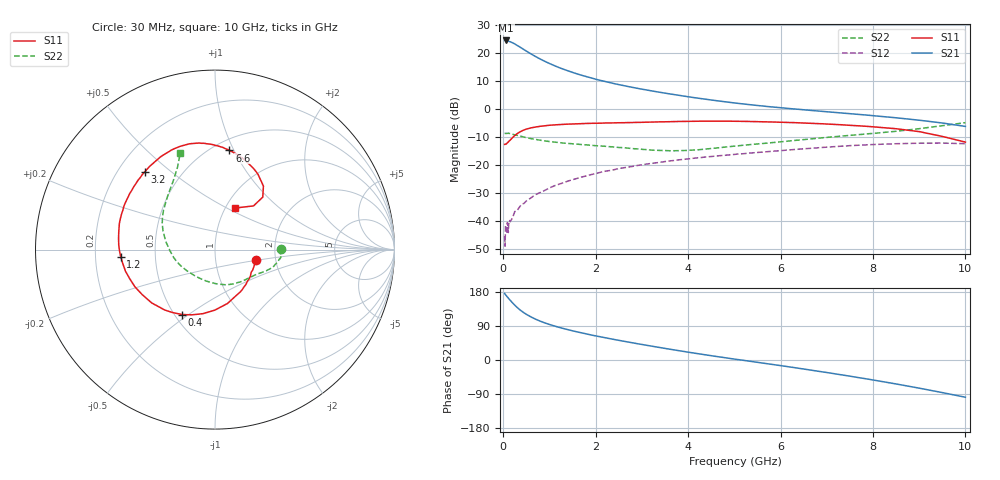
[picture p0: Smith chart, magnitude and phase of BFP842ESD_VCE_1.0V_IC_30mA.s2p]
! Infineon Technologies  Discrete & RF Semiconductors
! BFP842ESD
! VCE =  1.0 V,  IC =  30 mA
! Common Emitter S-Parameters:  May 2012
# GHz  S  MA  R  50
!  f  S11  S21  S12  S22
! GHz  MAG  ANG  MAG  ANG  MAG  ANG  MAG  ANG
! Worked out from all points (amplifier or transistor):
!   99 points, 30 MHz to 10 GHz, reference 50 ohm
!   highest |S21| = 24.4 dB at 60 MHz (marker M1)
!   |S21| within 3 dB of that: start of sweep to 423.6 MHz
!   unconditionally stable (mu >= 1): start of sweep to end of sweep
!   at 350 MHz: K = 1.67, MAG = 23.8 dB, |S12| = -35.0 dB
!   at 3.5 GHz: K = 1.45, MAG = 8.2 dB, |S12| = -18.7 dB
!   at 10 GHz: K = 2.58, MAG = -3.9 dB, |S12| = -12.4 dB
!   S11 on the Smith chart (normalised r, x): 30 MHz: 1.57, -0.19; 400 MHz: 0.55, -0.47; 1.2 GHz: 0.31, -0.04; 3.2 GHz: 0.31, +0.41; 6.6 GHz: 0.60, +0.96; 10 GHz: 1.11, +0.55
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0.03  0.2339 -14.5  16.6 175.6  0.0054 30.9  0.3673 0.3
0.04  0.2344 -19.1  16.55 174.0  0.0036 31.0  0.3679 -1.1
0.05  0.2368 -23.6  16.42 172.3  0.0085 12.7  0.3652 -1.9
0.06  0.239 -28.6  16.62 170.7  0.0071 16.2  0.367 -2.9
0.15  0.2778 -62.3  15.78 157.7  0.0098 63.3  0.3624 -8.4
0.25  0.3371 -90.1  14.43 144.6  0.0149 46.0  0.3464 -13.5
0.35  0.3856 -109.5  12.86 133.6  0.0178 60.5  0.33 -18.0
0.4  0.4056 -116.9  12.1 128.8  0.0202 60.5  0.3241 -19.4
0.5  0.4378 -129.7  10.76 120.6  0.023 60.9  0.3091 -22.4
0.6  0.4609 -139.8  9.58 113.7  0.0261 59.8  0.2964 -24.7
0.7  0.4768 -148.2  8.592 107.7  0.0299 59.8  0.2871 -26.7
0.9  0.5024 -161.3  7.058 97.9  0.0355 59.9  0.2697 -30.7
1.2  0.5267 -175.5  5.497 86.4  0.0455 58.1  0.2527 -37.0
1.7  0.5481 167.3  3.98 71.5  0.0614 53.0  0.2318 -48.4
2.4  0.5655 149.3  2.832 54.2  0.0829 45.3  0.2104 -67.4
3.2  0.5839 131.9  2.109 36.8  0.107 34.8  0.1855 -94.1
3.4  0.5898 128.0  1.977 32.7  0.1123 32.1  0.1826 -101.8
5.1  0.6028 101.0  1.254 0.8  0.158 8.7  0.2217 -162.2
6.6  0.558 81.7  0.952 -25.6  0.1978 -13.7  0.2899 165.8
6.7  0.5537 80.1  0.937 -27.5  0.2007 -15.5  0.2952 163.9
8.5  0.4451 52.7  0.697 -63.2  0.2405 -51.9  0.4007 130.9
10  0.257 64.2  0.489 -98.2  0.2408 -91.8  0.5713 109.8
